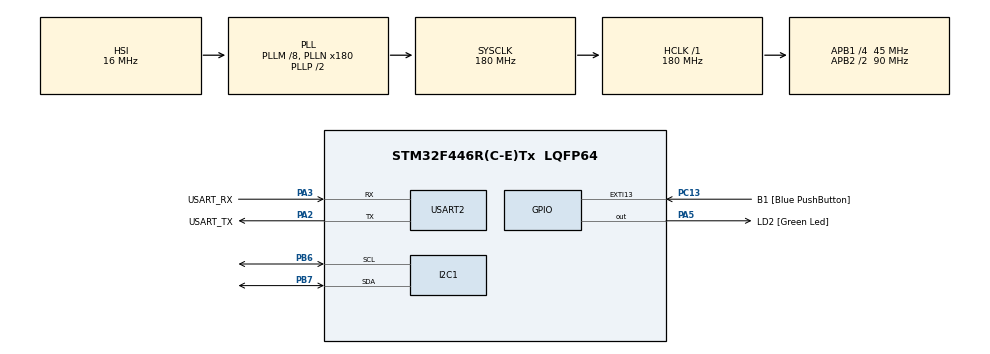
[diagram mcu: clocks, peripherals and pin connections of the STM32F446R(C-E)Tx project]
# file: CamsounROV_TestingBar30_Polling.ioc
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I2C1.I2C_Mode=I2C_Fast
Mcu.Family=STM32F4
Mcu.Name=STM32F446R(C-E)Tx
Mcu.Package=LQFP64
NVIC.PriorityGroup=NVIC_PRIORITYGROUP_0
PA13.GPIO_Label=TMS
PA13.Mode=Trace_Asynchronous_SW
PA13.Signal=SYS_JTMS-SWDIO
PA14.GPIO_Label=TCK
PA14.Mode=Trace_Asynchronous_SW
PA14.Signal=SYS_JTCK-SWCLK
PA2.GPIO_Label=USART_TX
PA2.Mode=Asynchronous
PA2.Signal=USART2_TX
PA3.GPIO_Label=USART_RX
PA3.Mode=Asynchronous
PA3.Signal=USART2_RX
PA5.GPIO_Label=LD2 [Green Led]
PA5.Signal=GPIO_Output
PB3.GPIO_Label=SWO
PB3.Mode=Trace_Asynchronous_SW
PB3.Signal=SYS_JTDO-SWO
PB6.Mode=I2C
PB6.Signal=I2C1_SCL
PB7.Mode=I2C
PB7.Signal=I2C1_SDA
PC13.GPIO_Label=B1 [Blue PushButton]
PC13.GPIO_ModeDefaultEXTI=GPIO_MODE_IT_FALLING
PC13.Signal=GPXTI13
PC14-OSC32_IN.Mode=LSE-External-Oscillator
PC14-OSC32_IN.Signal=RCC_OSC32_IN
PC15-OSC32_OUT.Mode=LSE-External-Oscillator
PC15-OSC32_OUT.Signal=RCC_OSC32_OUT
PH0-OSC_IN.Mode=HSE-External-Oscillator
PH0-OSC_IN.Signal=RCC_OSC_IN
PH1-OSC_OUT.Mode=HSE-External-Oscillator
PH1-OSC_OUT.Signal=RCC_OSC_OUT
ProjectManager.HeapSize=0x200
ProjectManager.StackSize=0x400
ProjectManager.TargetToolchain=STM32CubeIDE
RCC.48MHZClocksFreq_Value=84000000
RCC.AHBFreq_Value=180000000
RCC.APB1CLKDivider=RCC_HCLK_DIV4
RCC.APB1Freq_Value=45000000
RCC.APB1TimFreq_Value=90000000
RCC.APB2CLKDivider=RCC_HCLK_DIV2
RCC.APB2Freq_Value=90000000
RCC.APB2TimFreq_Value=180000000
RCC.CortexFreq_Value=180000000
RCC.FLatency-AdvancedSettings=FLASH_LATENCY_5
RCC.HCLKFreq_Value=180000000
RCC.HSE_VALUE=8000000
RCC.HSI_VALUE=16000000
RCC.PLLM=8
RCC.PLLN=180
RCC.SYSCLKFreq_VALUE=180000000
RCC.SYSCLKSource=RCC_SYSCLKSOURCE_PLLCLK
RCC.USBFreq_Value=180000000
RCC.VCOOutputFreq_Value=360000000
USART2.VirtualMode=VM_ASYNC
board=NUCLEO-F446RE

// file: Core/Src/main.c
/* USER CODE BEGIN Header */
/**
 ******************************************************************************
 * @file           : main.c
 * @brief          : Main program body
 ******************************************************************************
 * @attention
 *
 * Copyright (c) 2026 STMicroelectronics.
 * All rights reserved.
 *
 * This software is licensed under terms that can be found in the LICENSE file
 * in the root directory of this software component.
 * If no LICENSE file comes with this software, it is provided AS-IS.
 *
 ******************************************************************************
 */
/* USER CODE END Header */
#include "main.h"

/* USER CODE BEGIN Includes */
#include <stdio.h>

#include "Bar30.h"
/* USER CODE END Includes */

I2C_HandleTypeDef hi2c1;

UART_HandleTypeDef huart2;

/* USER CODE BEGIN PV */
MS5837_t bar30;
/* USER CODE END PV */

void SystemClock_Config(void);
static void MX_GPIO_Init(void);
static void MX_I2C1_Init(void);
static void MX_USART2_UART_Init(void);

int main(void) {

	/* MCU Configuration--------------------------------------------------------*/

	/* Reset of all peripherals, Initializes the Flash interface and the Systick. */
	HAL_Init();

	/* Configure the system clock */
	SystemClock_Config();

	/* Initialize all configured peripherals */
	MX_GPIO_Init();
	MX_I2C1_Init();
	MX_USART2_UART_Init();
	/* USER CODE BEGIN 2 */

	printf("Starting test...\r\n");
	for (uint8_t addr = 1; addr < 128; addr++) {
		if (HAL_I2C_IsDeviceReady(&hi2c1, addr << 1, 1, 100) == HAL_OK) {
			printf("Found device at 0x%02X\r\n", addr);
		}
	}
	HAL_Delay(1000);

	MS5837_SetI2C(&bar30, &hi2c1); // set the I2C handle for the sensor
	MS5837_SetOSR(&bar30, MS5837_OSR_256); // set the oversampling rate for the sensor
	MS5837_SetModel(&bar30, MS5837_MODEL_30BA); // set the sensor model
	bar30.secondOrderCalculation = false; // enable second order calculation, compensates for water below 15C.

	if (MS5837_Init(&bar30)) { // initialization and checking if the sensor is connected
		printf("BarXX init OK.\r\n");
		MS5837_Model_t model = MS5837_GetModel(&bar30); // get the sensor model
		switch (model) { // print the sensor model
		case MS5837_MODEL_30BA:
			printf("Sensor model: MS5837-30BA (Bar30)\r\n");
			break;
		case MS5837_MODEL_02BA:
			printf("Sensor model: MS5837-02BA\r\n");
			break;
		default:
			printf("Sensor model: unrecognized (%d)\r\n", model);
			break;
		}
		printf("Calib coeffs: C1=%u C2=%u C3=%u C4=%u C5=%u C6=%u\r\n",
				bar30.prom[1], bar30.prom[2], bar30.prom[3], bar30.prom[4],
				bar30.prom[5], bar30.prom[6]);

		printf("Surface reference: %.2f mbar\r\n",
				MS5837_GetSurfaceReference(&bar30));
//		MS5837_SetSurfaceReference(&bar30, 1050.25f);
//		printf("Surface reference: %.2f mbar\r\n",
//				MS5837_GetSurfaceReference(&bar30));

		printf("Water Density %0.2f kg/m3\r\n", bar30.fluidDensity_kg_m3);
//		MS5837_SetFluidDensity(&bar30, 1000);
//		printf("Water Density %0.2f kg/m3\r\n", bar30.fluidDensity_kg_m3);

	} else {
		printf("Bar30 init FAILED - check wiring/pull-ups/power.\r\n");
		Error_Handler(); /* stop here - no point continuing if init failed */
	}

	/* USER CODE END 2 */

	/* Infinite loop */
	/* USER CODE BEGIN WHILE */
	while (1) {
		if (MS5837_Read(&bar30)) {
			float depth = MS5837_GetDepth(&bar30);
			printf("Pressure: %.2f mbar | Temp: %.2f C | Depth: %0.2f m\r\n",
					bar30.pressure_mbar, bar30.temperature_C, depth);
		} else {
			printf("Bar30 read failed.\r\n");
		}

		HAL_Delay(2000); /* 2 readings/sec - plenty for bring-up testing */

		/* USER CODE END WHILE */

	}
}

void SystemClock_Config(void) {
	RCC_OscInitTypeDef RCC_OscInitStruct = { 0 };
	RCC_ClkInitTypeDef RCC_ClkInitStruct = { 0 };

	/** Configure the main internal regulator output voltage
	 */
	__HAL_RCC_PWR_CLK_ENABLE();
	__HAL_PWR_VOLTAGESCALING_CONFIG(PWR_REGULATOR_VOLTAGE_SCALE1);

	/** Initializes the RCC Oscillators according to the specified parameters
	 * in the RCC_OscInitTypeDef structure.
	 */
	RCC_OscInitStruct.OscillatorType = RCC_OSCILLATORTYPE_HSI;
	RCC_OscInitStruct.HSIState = RCC_HSI_ON;
	RCC_OscInitStruct.HSICalibrationValue = RCC_HSICALIBRATION_DEFAULT;
	RCC_OscInitStruct.PLL.PLLState = RCC_PLL_ON;
	RCC_OscInitStruct.PLL.PLLSource = RCC_PLLSOURCE_HSI;
	RCC_OscInitStruct.PLL.PLLM = 8;
	RCC_OscInitStruct.PLL.PLLN = 180;
	RCC_OscInitStruct.PLL.PLLP = RCC_PLLP_DIV2;
	RCC_OscInitStruct.PLL.PLLQ = 2;
	RCC_OscInitStruct.PLL.PLLR = 2;
	if (HAL_RCC_OscConfig(&RCC_OscInitStruct) != HAL_OK) {
		Error_Handler();
	}

	/** Activate the Over-Drive mode
	 */
	if (HAL_PWREx_EnableOverDrive() != HAL_OK) {
		Error_Handler();
	}

	/** Initializes the CPU, AHB and APB buses clocks
	 */
	RCC_ClkInitStruct.ClockType = RCC_CLOCKTYPE_HCLK | RCC_CLOCKTYPE_SYSCLK
			| RCC_CLOCKTYPE_PCLK1 | RCC_CLOCKTYPE_PCLK2;
	RCC_ClkInitStruct.SYSCLKSource = RCC_SYSCLKSOURCE_PLLCLK;
	RCC_ClkInitStruct.AHBCLKDivider = RCC_SYSCLK_DIV1;
	RCC_ClkInitStruct.APB1CLKDivider = RCC_HCLK_DIV4;
	RCC_ClkInitStruct.APB2CLKDivider = RCC_HCLK_DIV2;

	if (HAL_RCC_ClockConfig(&RCC_ClkInitStruct, FLASH_LATENCY_5) != HAL_OK) {
		Error_Handler();
	}
}

static void MX_I2C1_Init(void) {

	hi2c1.Instance = I2C1;
	hi2c1.Init.ClockSpeed = 100000;
	hi2c1.Init.DutyCycle = I2C_DUTYCYCLE_2;
	hi2c1.Init.OwnAddress1 = 0;
	hi2c1.Init.AddressingMode = I2C_ADDRESSINGMODE_7BIT;
	hi2c1.Init.DualAddressMode = I2C_DUALADDRESS_DISABLE;
	hi2c1.Init.OwnAddress2 = 0;
	hi2c1.Init.GeneralCallMode = I2C_GENERALCALL_DISABLE;
	hi2c1.Init.NoStretchMode = I2C_NOSTRETCH_DISABLE;
	if (HAL_I2C_Init(&hi2c1) != HAL_OK) {
		Error_Handler();
	}

}

static void MX_USART2_UART_Init(void) {

	huart2.Instance = USART2;
	huart2.Init.BaudRate = 115200;
	huart2.Init.WordLength = UART_WORDLENGTH_8B;
	huart2.Init.StopBits = UART_STOPBITS_1;
	huart2.Init.Parity = UART_PARITY_NONE;
	huart2.Init.Mode = UART_MODE_TX_RX;
	huart2.Init.HwFlowCtl = UART_HWCONTROL_NONE;
	huart2.Init.OverSampling = UART_OVERSAMPLING_16;
	if (HAL_UART_Init(&huart2) != HAL_OK) {
		Error_Handler();
	}

}

static void MX_GPIO_Init(void) {
	GPIO_InitTypeDef GPIO_InitStruct = { 0 };

	/* GPIO Ports Clock Enable */
	__HAL_RCC_GPIOC_CLK_ENABLE();
	__HAL_RCC_GPIOH_CLK_ENABLE();
	__HAL_RCC_GPIOA_CLK_ENABLE();
	__HAL_RCC_GPIOB_CLK_ENABLE();

	/*Configure GPIO pin Output Level */
	HAL_GPIO_WritePin(LD2_GPIO_Port, LD2_Pin, GPIO_PIN_RESET);

	/*Configure GPIO pin : B1_Pin */
	GPIO_InitStruct.Pin = B1_Pin;
	GPIO_InitStruct.Mode = GPIO_MODE_IT_FALLING;
	GPIO_InitStruct.Pull = GPIO_NOPULL;
	HAL_GPIO_Init(B1_GPIO_Port, &GPIO_InitStruct);

	/*Configure GPIO pin : LD2_Pin */
	GPIO_InitStruct.Pin = LD2_Pin;
	GPIO_InitStruct.Mode = GPIO_MODE_OUTPUT_PP;
	GPIO_InitStruct.Pull = GPIO_NOPULL;
	GPIO_InitStruct.Speed = GPIO_SPEED_FREQ_LOW;
	HAL_GPIO_Init(LD2_GPIO_Port, &GPIO_InitStruct);

}

/* USER CODE BEGIN 4 */
int __io_putchar(int ch) {
//	HAL_UART_Transmit(&huart2, (uint8_t*) &ch, 1, HAL_MAX_DELAY); // Transmit the character over UART
	ITM_SendChar(ch); // Send the character to the SWO console (for debugging)
	return ch;
}
/* USER CODE END 4 */

void Error_Handler(void) {
	__disable_irq();
	while (1) {
	}
}
